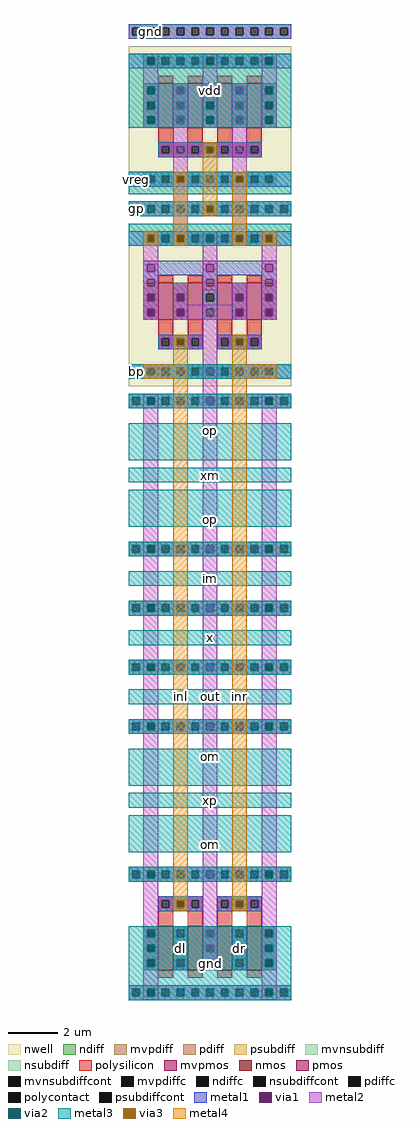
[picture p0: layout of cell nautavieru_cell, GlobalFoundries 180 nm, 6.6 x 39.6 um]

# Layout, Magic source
magic
tech gf180mcuC
<< nwell >>
rect -720 522 -588 642
rect -720 366 -588 498
<< nmos >>
rect -696 -108 -684 -72
rect -672 -108 -660 -72
rect -648 -108 -636 -72
rect -624 -108 -612 -72
<< pmos >>
rect -696 420 -684 450
rect -672 420 -660 450
rect -648 420 -636 450
rect -624 420 -612 450
<< mvpmos >>
rect -696 576 -684 612
rect -672 576 -660 612
rect -648 576 -636 612
rect -624 576 -612 612
<< ndiff >>
rect -708 -75 -696 -72
rect -708 -81 -705 -75
rect -699 -81 -696 -75
rect -708 -87 -696 -81
rect -708 -93 -705 -87
rect -699 -93 -696 -87
rect -708 -99 -696 -93
rect -708 -105 -705 -99
rect -699 -105 -696 -99
rect -708 -108 -696 -105
rect -684 -75 -672 -72
rect -684 -81 -681 -75
rect -675 -81 -672 -75
rect -684 -87 -672 -81
rect -684 -93 -681 -87
rect -675 -93 -672 -87
rect -684 -99 -672 -93
rect -684 -105 -681 -99
rect -675 -105 -672 -99
rect -684 -108 -672 -105
rect -660 -75 -648 -72
rect -660 -81 -657 -75
rect -651 -81 -648 -75
rect -660 -87 -648 -81
rect -660 -93 -657 -87
rect -651 -93 -648 -87
rect -660 -99 -648 -93
rect -660 -105 -657 -99
rect -651 -105 -648 -99
rect -660 -108 -648 -105
rect -636 -75 -624 -72
rect -636 -81 -633 -75
rect -627 -81 -624 -75
rect -636 -87 -624 -81
rect -636 -93 -633 -87
rect -627 -93 -624 -87
rect -636 -99 -624 -93
rect -636 -105 -633 -99
rect -627 -105 -624 -99
rect -636 -108 -624 -105
rect -612 -75 -600 -72
rect -612 -81 -609 -75
rect -603 -81 -600 -75
rect -612 -87 -600 -81
rect -612 -93 -609 -87
rect -603 -93 -600 -87
rect -612 -99 -600 -93
rect -612 -105 -609 -99
rect -603 -105 -600 -99
rect -612 -108 -600 -105
<< pdiff >>
rect -708 441 -696 450
rect -708 435 -705 441
rect -699 435 -696 441
rect -708 429 -696 435
rect -708 423 -705 429
rect -699 423 -696 429
rect -708 420 -696 423
rect -684 441 -672 450
rect -684 435 -681 441
rect -675 435 -672 441
rect -684 429 -672 435
rect -684 423 -681 429
rect -675 423 -672 429
rect -684 420 -672 423
rect -660 441 -648 450
rect -660 435 -657 441
rect -651 435 -648 441
rect -660 429 -648 435
rect -660 423 -657 429
rect -651 423 -648 429
rect -660 420 -648 423
rect -636 441 -624 450
rect -636 435 -633 441
rect -627 435 -624 441
rect -636 429 -624 435
rect -636 423 -633 429
rect -627 423 -624 429
rect -636 420 -624 423
rect -612 441 -600 450
rect -612 435 -609 441
rect -603 435 -600 441
rect -612 429 -600 435
rect -612 423 -609 429
rect -603 423 -600 429
rect -612 420 -600 423
<< mvpdiff >>
rect -708 609 -696 612
rect -708 603 -705 609
rect -699 603 -696 609
rect -708 597 -696 603
rect -708 591 -705 597
rect -699 591 -696 597
rect -708 585 -696 591
rect -708 579 -705 585
rect -699 579 -696 585
rect -708 576 -696 579
rect -684 609 -672 612
rect -684 603 -681 609
rect -675 603 -672 609
rect -684 597 -672 603
rect -684 591 -681 597
rect -675 591 -672 597
rect -684 585 -672 591
rect -684 579 -681 585
rect -675 579 -672 585
rect -684 576 -672 579
rect -660 609 -648 612
rect -660 603 -657 609
rect -651 603 -648 609
rect -660 597 -648 603
rect -660 591 -657 597
rect -651 591 -648 597
rect -660 585 -648 591
rect -660 579 -657 585
rect -651 579 -648 585
rect -660 576 -648 579
rect -636 609 -624 612
rect -636 603 -633 609
rect -627 603 -624 609
rect -636 597 -624 603
rect -636 591 -633 597
rect -627 591 -624 597
rect -636 585 -624 591
rect -636 579 -633 585
rect -627 579 -624 585
rect -636 576 -624 579
rect -612 609 -600 612
rect -612 603 -609 609
rect -603 603 -600 609
rect -612 597 -600 603
rect -612 591 -609 597
rect -603 591 -600 597
rect -612 585 -600 591
rect -612 579 -609 585
rect -603 579 -600 585
rect -612 576 -600 579
<< ndiffc >>
rect -705 -81 -699 -75
rect -705 -93 -699 -87
rect -705 -105 -699 -99
rect -681 -81 -675 -75
rect -681 -93 -675 -87
rect -681 -105 -675 -99
rect -657 -81 -651 -75
rect -657 -93 -651 -87
rect -657 -105 -651 -99
rect -633 -81 -627 -75
rect -633 -93 -627 -87
rect -633 -105 -627 -99
rect -609 -81 -603 -75
rect -609 -93 -603 -87
rect -609 -105 -603 -99
<< pdiffc >>
rect -705 435 -699 441
rect -705 423 -699 429
rect -681 435 -675 441
rect -681 423 -675 429
rect -657 435 -651 441
rect -657 423 -651 429
rect -633 435 -627 441
rect -633 423 -627 429
rect -609 435 -603 441
rect -609 423 -603 429
<< mvpdiffc >>
rect -705 603 -699 609
rect -705 591 -699 597
rect -705 579 -699 585
rect -681 603 -675 609
rect -681 591 -675 597
rect -681 579 -675 585
rect -657 603 -651 609
rect -657 591 -651 597
rect -657 579 -651 585
rect -633 603 -627 609
rect -633 591 -627 597
rect -633 579 -627 585
rect -609 603 -603 609
rect -609 591 -603 597
rect -609 579 -603 585
<< psubdiff >>
rect -720 657 -588 660
rect -720 651 -717 657
rect -711 651 -705 657
rect -699 651 -693 657
rect -687 651 -681 657
rect -675 651 -669 657
rect -663 651 -657 657
rect -651 651 -645 657
rect -639 651 -633 657
rect -627 651 -621 657
rect -615 651 -609 657
rect -603 651 -597 657
rect -591 651 -588 657
rect -720 648 -588 651
rect -720 513 -588 516
rect -720 507 -717 513
rect -711 507 -705 513
rect -699 507 -693 513
rect -687 507 -681 513
rect -675 507 -669 513
rect -663 507 -657 513
rect -651 507 -645 513
rect -639 507 -633 513
rect -627 507 -621 513
rect -615 507 -609 513
rect -603 507 -597 513
rect -591 507 -588 513
rect -720 504 -588 507
rect -720 357 -588 360
rect -720 351 -717 357
rect -711 351 -705 357
rect -699 351 -693 357
rect -687 351 -681 357
rect -675 351 -669 357
rect -663 351 -657 357
rect -651 351 -645 357
rect -639 351 -633 357
rect -627 351 -621 357
rect -615 351 -609 357
rect -603 351 -597 357
rect -591 351 -588 357
rect -720 348 -588 351
rect -720 237 -588 240
rect -720 231 -717 237
rect -711 231 -705 237
rect -699 231 -693 237
rect -687 231 -681 237
rect -675 231 -669 237
rect -663 231 -657 237
rect -651 231 -645 237
rect -639 231 -633 237
rect -627 231 -621 237
rect -615 231 -609 237
rect -603 231 -597 237
rect -591 231 -588 237
rect -720 228 -588 231
rect -720 189 -588 192
rect -720 183 -717 189
rect -711 183 -705 189
rect -699 183 -693 189
rect -687 183 -681 189
rect -675 183 -669 189
rect -663 183 -657 189
rect -651 183 -645 189
rect -639 183 -633 189
rect -627 183 -621 189
rect -615 183 -609 189
rect -603 183 -597 189
rect -591 183 -588 189
rect -720 180 -588 183
rect -720 141 -588 144
rect -720 135 -717 141
rect -711 135 -705 141
rect -699 135 -693 141
rect -687 135 -681 141
rect -675 135 -669 141
rect -663 135 -657 141
rect -651 135 -645 141
rect -639 135 -633 141
rect -627 135 -621 141
rect -615 135 -609 141
rect -603 135 -597 141
rect -591 135 -588 141
rect -720 132 -588 135
rect -720 93 -588 96
rect -720 87 -717 93
rect -711 87 -705 93
rect -699 87 -693 93
rect -687 87 -681 93
rect -675 87 -669 93
rect -663 87 -657 93
rect -651 87 -645 93
rect -639 87 -633 93
rect -627 87 -621 93
rect -615 87 -609 93
rect -603 87 -597 93
rect -591 87 -588 93
rect -720 84 -588 87
rect -720 -27 -588 -24
rect -720 -33 -717 -27
rect -711 -33 -705 -27
rect -699 -33 -693 -27
rect -687 -33 -681 -27
rect -675 -33 -669 -27
rect -663 -33 -657 -27
rect -651 -33 -645 -27
rect -639 -33 -633 -27
rect -627 -33 -621 -27
rect -615 -33 -609 -27
rect -603 -33 -597 -27
rect -591 -33 -588 -27
rect -720 -36 -588 -33
rect -720 -123 -588 -120
rect -720 -129 -717 -123
rect -711 -129 -705 -123
rect -699 -129 -693 -123
rect -687 -129 -681 -123
rect -675 -129 -669 -123
rect -663 -129 -657 -123
rect -651 -129 -645 -123
rect -639 -129 -633 -123
rect -627 -129 -621 -123
rect -615 -129 -609 -123
rect -603 -129 -597 -123
rect -591 -129 -588 -123
rect -720 -132 -588 -129
<< nsubdiff >>
rect -708 489 -600 492
rect -708 483 -705 489
rect -699 483 -693 489
rect -687 483 -681 489
rect -675 483 -669 489
rect -663 483 -657 489
rect -651 483 -645 489
rect -639 483 -633 489
rect -627 483 -621 489
rect -615 483 -609 489
rect -603 483 -600 489
rect -708 480 -600 483
rect -708 381 -600 384
rect -708 375 -705 381
rect -699 375 -693 381
rect -687 375 -681 381
rect -675 375 -669 381
rect -663 375 -657 381
rect -651 375 -645 381
rect -639 375 -633 381
rect -627 375 -621 381
rect -615 375 -609 381
rect -603 375 -600 381
rect -708 372 -600 375
<< mvnsubdiff >>
rect -708 633 -600 636
rect -708 627 -705 633
rect -699 627 -693 633
rect -687 627 -681 633
rect -675 627 -669 633
rect -663 627 -657 633
rect -651 627 -645 633
rect -639 627 -633 633
rect -627 627 -621 633
rect -615 627 -609 633
rect -603 627 -600 633
rect -708 624 -600 627
rect -708 537 -600 540
rect -708 531 -705 537
rect -699 531 -693 537
rect -687 531 -681 537
rect -675 531 -669 537
rect -663 531 -657 537
rect -651 531 -645 537
rect -639 531 -633 537
rect -627 531 -621 537
rect -615 531 -609 537
rect -603 531 -600 537
rect -708 528 -600 531
<< psubdiffcont >>
rect -717 651 -711 657
rect -705 651 -699 657
rect -693 651 -687 657
rect -681 651 -675 657
rect -669 651 -663 657
rect -657 651 -651 657
rect -645 651 -639 657
rect -633 651 -627 657
rect -621 651 -615 657
rect -609 651 -603 657
rect -597 651 -591 657
rect -717 507 -711 513
rect -705 507 -699 513
rect -693 507 -687 513
rect -681 507 -675 513
rect -669 507 -663 513
rect -657 507 -651 513
rect -645 507 -639 513
rect -633 507 -627 513
rect -621 507 -615 513
rect -609 507 -603 513
rect -597 507 -591 513
rect -717 351 -711 357
rect -705 351 -699 357
rect -693 351 -687 357
rect -681 351 -675 357
rect -669 351 -663 357
rect -657 351 -651 357
rect -645 351 -639 357
rect -633 351 -627 357
rect -621 351 -615 357
rect -609 351 -603 357
rect -597 351 -591 357
rect -717 231 -711 237
rect -705 231 -699 237
rect -693 231 -687 237
rect -681 231 -675 237
rect -669 231 -663 237
rect -657 231 -651 237
rect -645 231 -639 237
rect -633 231 -627 237
rect -621 231 -615 237
rect -609 231 -603 237
rect -597 231 -591 237
rect -717 183 -711 189
rect -705 183 -699 189
rect -693 183 -687 189
rect -681 183 -675 189
rect -669 183 -663 189
rect -657 183 -651 189
rect -645 183 -639 189
rect -633 183 -627 189
rect -621 183 -615 189
rect -609 183 -603 189
rect -597 183 -591 189
rect -717 135 -711 141
rect -705 135 -699 141
rect -693 135 -687 141
rect -681 135 -675 141
rect -669 135 -663 141
rect -657 135 -651 141
rect -645 135 -639 141
rect -633 135 -627 141
rect -621 135 -615 141
rect -609 135 -603 141
rect -597 135 -591 141
rect -717 87 -711 93
rect -705 87 -699 93
rect -693 87 -687 93
rect -681 87 -675 93
rect -669 87 -663 93
rect -657 87 -651 93
rect -645 87 -639 93
rect -633 87 -627 93
rect -621 87 -615 93
rect -609 87 -603 93
rect -597 87 -591 93
rect -717 -33 -711 -27
rect -705 -33 -699 -27
rect -693 -33 -687 -27
rect -681 -33 -675 -27
rect -669 -33 -663 -27
rect -657 -33 -651 -27
rect -645 -33 -639 -27
rect -633 -33 -627 -27
rect -621 -33 -615 -27
rect -609 -33 -603 -27
rect -597 -33 -591 -27
rect -717 -129 -711 -123
rect -705 -129 -699 -123
rect -693 -129 -687 -123
rect -681 -129 -675 -123
rect -669 -129 -663 -123
rect -657 -129 -651 -123
rect -645 -129 -639 -123
rect -633 -129 -627 -123
rect -621 -129 -615 -123
rect -609 -129 -603 -123
rect -597 -129 -591 -123
<< nsubdiffcont >>
rect -705 483 -699 489
rect -693 483 -687 489
rect -681 483 -675 489
rect -669 483 -663 489
rect -657 483 -651 489
rect -645 483 -639 489
rect -633 483 -627 489
rect -621 483 -615 489
rect -609 483 -603 489
rect -705 375 -699 381
rect -693 375 -687 381
rect -681 375 -675 381
rect -669 375 -663 381
rect -657 375 -651 381
rect -645 375 -639 381
rect -633 375 -627 381
rect -621 375 -615 381
rect -609 375 -603 381
<< mvnsubdiffcont >>
rect -705 627 -699 633
rect -693 627 -687 633
rect -681 627 -675 633
rect -669 627 -663 633
rect -657 627 -651 633
rect -645 627 -639 633
rect -633 627 -627 633
rect -621 627 -615 633
rect -609 627 -603 633
rect -705 531 -699 537
rect -693 531 -687 537
rect -681 531 -675 537
rect -669 531 -663 537
rect -657 531 -651 537
rect -645 531 -639 537
rect -633 531 -627 537
rect -621 531 -615 537
rect -609 531 -603 537
<< polysilicon >>
rect -696 612 -684 618
rect -672 612 -660 618
rect -648 612 -636 618
rect -624 612 -612 618
rect -696 564 -684 576
rect -672 564 -660 576
rect -648 564 -636 576
rect -624 564 -612 576
rect -696 561 -612 564
rect -696 555 -693 561
rect -687 555 -681 561
rect -675 555 -669 561
rect -663 555 -657 561
rect -651 555 -645 561
rect -639 555 -633 561
rect -627 555 -621 561
rect -615 555 -612 561
rect -696 552 -612 555
rect -696 450 -684 456
rect -672 450 -660 456
rect -648 450 -636 456
rect -624 450 -612 456
rect -696 408 -684 420
rect -672 408 -660 420
rect -696 405 -660 408
rect -696 399 -693 405
rect -687 399 -681 405
rect -675 399 -669 405
rect -663 399 -660 405
rect -696 396 -660 399
rect -648 408 -636 420
rect -624 408 -612 420
rect -648 405 -612 408
rect -648 399 -645 405
rect -639 399 -633 405
rect -627 399 -621 405
rect -615 399 -612 405
rect -648 396 -612 399
rect -696 -51 -660 -48
rect -696 -57 -693 -51
rect -687 -57 -681 -51
rect -675 -57 -669 -51
rect -663 -57 -660 -51
rect -696 -60 -660 -57
rect -696 -72 -684 -60
rect -672 -72 -660 -60
rect -648 -51 -612 -48
rect -648 -57 -645 -51
rect -639 -57 -633 -51
rect -627 -57 -621 -51
rect -615 -57 -612 -51
rect -648 -60 -612 -57
rect -648 -72 -636 -60
rect -624 -72 -612 -60
rect -696 -114 -684 -108
rect -672 -114 -660 -108
rect -648 -114 -636 -108
rect -624 -114 -612 -108
<< polycontact >>
rect -693 555 -687 561
rect -681 555 -675 561
rect -669 555 -663 561
rect -657 555 -651 561
rect -645 555 -639 561
rect -633 555 -627 561
rect -621 555 -615 561
rect -693 399 -687 405
rect -681 399 -675 405
rect -669 399 -663 405
rect -645 399 -639 405
rect -633 399 -627 405
rect -621 399 -615 405
rect -693 -57 -687 -51
rect -681 -57 -675 -51
rect -669 -57 -663 -51
rect -645 -57 -639 -51
rect -633 -57 -627 -51
rect -621 -57 -615 -51
<< metal1 >>
rect -720 657 -588 660
rect -720 651 -717 657
rect -711 651 -705 657
rect -699 651 -693 657
rect -687 651 -681 657
rect -675 651 -669 657
rect -663 651 -657 657
rect -651 651 -645 657
rect -639 651 -633 657
rect -627 651 -621 657
rect -615 651 -609 657
rect -603 651 -597 657
rect -591 651 -588 657
rect -720 648 -588 651
rect -720 633 -588 636
rect -720 627 -705 633
rect -699 627 -693 633
rect -687 627 -681 633
rect -675 627 -669 633
rect -663 627 -657 633
rect -651 627 -645 633
rect -639 627 -633 633
rect -627 627 -621 633
rect -615 627 -609 633
rect -603 627 -588 633
rect -720 624 -588 627
rect -708 609 -696 612
rect -708 603 -705 609
rect -699 603 -696 609
rect -708 597 -696 603
rect -708 591 -705 597
rect -699 591 -696 597
rect -708 585 -696 591
rect -708 579 -705 585
rect -699 579 -696 585
rect -708 576 -696 579
rect -684 609 -672 612
rect -684 603 -681 609
rect -675 603 -672 609
rect -684 597 -672 603
rect -684 591 -681 597
rect -675 591 -672 597
rect -684 585 -672 591
rect -684 579 -681 585
rect -675 579 -672 585
rect -684 576 -672 579
rect -660 609 -648 612
rect -660 603 -657 609
rect -651 603 -648 609
rect -660 597 -648 603
rect -660 591 -657 597
rect -651 591 -648 597
rect -660 585 -648 591
rect -660 579 -657 585
rect -651 579 -648 585
rect -660 576 -648 579
rect -636 609 -624 612
rect -636 603 -633 609
rect -627 603 -624 609
rect -636 597 -624 603
rect -636 591 -633 597
rect -627 591 -624 597
rect -636 585 -624 591
rect -636 579 -633 585
rect -627 579 -624 585
rect -636 576 -624 579
rect -612 609 -600 612
rect -612 603 -609 609
rect -603 603 -600 609
rect -612 597 -600 603
rect -612 591 -609 597
rect -603 591 -600 597
rect -612 585 -600 591
rect -612 579 -609 585
rect -603 579 -600 585
rect -612 576 -600 579
rect -696 561 -612 564
rect -696 555 -693 561
rect -687 555 -681 561
rect -675 555 -669 561
rect -663 555 -657 561
rect -651 555 -645 561
rect -639 555 -633 561
rect -627 555 -621 561
rect -615 555 -612 561
rect -696 552 -612 555
rect -720 537 -588 540
rect -720 531 -705 537
rect -699 531 -693 537
rect -687 531 -681 537
rect -675 531 -669 537
rect -663 531 -657 537
rect -651 531 -645 537
rect -639 531 -633 537
rect -627 531 -621 537
rect -615 531 -609 537
rect -603 531 -588 537
rect -720 528 -588 531
rect -720 513 -588 516
rect -720 507 -717 513
rect -711 507 -705 513
rect -699 507 -693 513
rect -687 507 -681 513
rect -675 507 -669 513
rect -663 507 -657 513
rect -651 507 -645 513
rect -639 507 -633 513
rect -627 507 -621 513
rect -615 507 -609 513
rect -603 507 -597 513
rect -591 507 -588 513
rect -720 504 -588 507
rect -720 489 -588 492
rect -720 483 -705 489
rect -699 483 -693 489
rect -687 483 -681 489
rect -675 483 -669 489
rect -663 483 -657 489
rect -651 483 -645 489
rect -639 483 -633 489
rect -627 483 -621 489
rect -615 483 -609 489
rect -603 483 -588 489
rect -720 480 -588 483
rect -708 465 -600 468
rect -708 459 -705 465
rect -699 459 -657 465
rect -651 459 -609 465
rect -603 459 -600 465
rect -708 456 -600 459
rect -708 453 -696 456
rect -708 447 -705 453
rect -699 447 -696 453
rect -660 453 -648 456
rect -708 441 -696 447
rect -708 435 -705 441
rect -699 435 -696 441
rect -708 429 -696 435
rect -708 423 -705 429
rect -699 423 -696 429
rect -708 420 -696 423
rect -684 441 -672 450
rect -684 435 -681 441
rect -675 435 -672 441
rect -684 429 -672 435
rect -684 423 -681 429
rect -675 423 -672 429
rect -684 420 -672 423
rect -660 447 -657 453
rect -651 447 -648 453
rect -612 453 -600 456
rect -660 441 -648 447
rect -660 435 -657 441
rect -651 435 -648 441
rect -660 429 -648 435
rect -660 423 -657 429
rect -651 423 -648 429
rect -660 420 -648 423
rect -636 441 -624 450
rect -636 435 -633 441
rect -627 435 -624 441
rect -636 429 -624 435
rect -636 423 -633 429
rect -627 423 -624 429
rect -636 420 -624 423
rect -612 447 -609 453
rect -603 447 -600 453
rect -612 441 -600 447
rect -612 435 -609 441
rect -603 435 -600 441
rect -612 429 -600 435
rect -612 423 -609 429
rect -603 423 -600 429
rect -612 420 -600 423
rect -696 405 -660 408
rect -696 399 -693 405
rect -687 399 -681 405
rect -675 399 -669 405
rect -663 399 -660 405
rect -696 396 -660 399
rect -648 405 -612 408
rect -648 399 -645 405
rect -639 399 -633 405
rect -627 399 -621 405
rect -615 399 -612 405
rect -648 396 -612 399
rect -720 381 -588 384
rect -720 375 -705 381
rect -699 375 -693 381
rect -687 375 -681 381
rect -675 375 -669 381
rect -663 375 -657 381
rect -651 375 -645 381
rect -639 375 -633 381
rect -627 375 -621 381
rect -615 375 -609 381
rect -603 375 -588 381
rect -720 372 -588 375
rect -720 357 -588 360
rect -720 351 -717 357
rect -711 351 -705 357
rect -699 351 -693 357
rect -687 351 -681 357
rect -675 351 -669 357
rect -663 351 -657 357
rect -651 351 -645 357
rect -639 351 -633 357
rect -627 351 -621 357
rect -615 351 -609 357
rect -603 351 -597 357
rect -591 351 -588 357
rect -720 348 -588 351
rect -720 237 -588 240
rect -720 231 -717 237
rect -711 231 -705 237
rect -699 231 -693 237
rect -687 231 -681 237
rect -675 231 -669 237
rect -663 231 -657 237
rect -651 231 -645 237
rect -639 231 -633 237
rect -627 231 -621 237
rect -615 231 -609 237
rect -603 231 -597 237
rect -591 231 -588 237
rect -720 228 -588 231
rect -720 189 -588 192
rect -720 183 -717 189
rect -711 183 -705 189
rect -699 183 -693 189
rect -687 183 -681 189
rect -675 183 -669 189
rect -663 183 -657 189
rect -651 183 -645 189
rect -639 183 -633 189
rect -627 183 -621 189
rect -615 183 -609 189
rect -603 183 -597 189
rect -591 183 -588 189
rect -720 180 -588 183
rect -720 141 -588 144
rect -720 135 -717 141
rect -711 135 -705 141
rect -699 135 -693 141
rect -687 135 -681 141
rect -675 135 -669 141
rect -663 135 -657 141
rect -651 135 -645 141
rect -639 135 -633 141
rect -627 135 -621 141
rect -615 135 -609 141
rect -603 135 -597 141
rect -591 135 -588 141
rect -720 132 -588 135
rect -720 93 -588 96
rect -720 87 -717 93
rect -711 87 -705 93
rect -699 87 -693 93
rect -687 87 -681 93
rect -675 87 -669 93
rect -663 87 -657 93
rect -651 87 -645 93
rect -639 87 -633 93
rect -627 87 -621 93
rect -615 87 -609 93
rect -603 87 -597 93
rect -591 87 -588 93
rect -720 84 -588 87
rect -720 -27 -588 -24
rect -720 -33 -717 -27
rect -711 -33 -705 -27
rect -699 -33 -693 -27
rect -687 -33 -681 -27
rect -675 -33 -669 -27
rect -663 -33 -657 -27
rect -651 -33 -645 -27
rect -639 -33 -633 -27
rect -627 -33 -621 -27
rect -615 -33 -609 -27
rect -603 -33 -597 -27
rect -591 -33 -588 -27
rect -720 -36 -588 -33
rect -696 -51 -660 -48
rect -696 -57 -693 -51
rect -687 -57 -681 -51
rect -675 -57 -669 -51
rect -663 -57 -660 -51
rect -696 -60 -660 -57
rect -648 -51 -612 -48
rect -648 -57 -645 -51
rect -639 -57 -633 -51
rect -627 -57 -621 -51
rect -615 -57 -612 -51
rect -648 -60 -612 -57
rect -708 -75 -696 -72
rect -708 -81 -705 -75
rect -699 -81 -696 -75
rect -708 -87 -696 -81
rect -708 -93 -705 -87
rect -699 -93 -696 -87
rect -708 -99 -696 -93
rect -708 -105 -705 -99
rect -699 -105 -696 -99
rect -708 -108 -696 -105
rect -684 -75 -672 -72
rect -684 -81 -681 -75
rect -675 -81 -672 -75
rect -684 -87 -672 -81
rect -684 -93 -681 -87
rect -675 -93 -672 -87
rect -684 -99 -672 -93
rect -684 -105 -681 -99
rect -675 -105 -672 -99
rect -684 -108 -672 -105
rect -660 -75 -648 -72
rect -660 -81 -657 -75
rect -651 -81 -648 -75
rect -660 -87 -648 -81
rect -660 -93 -657 -87
rect -651 -93 -648 -87
rect -660 -99 -648 -93
rect -660 -105 -657 -99
rect -651 -105 -648 -99
rect -660 -108 -648 -105
rect -636 -75 -624 -72
rect -636 -81 -633 -75
rect -627 -81 -624 -75
rect -636 -87 -624 -81
rect -636 -93 -633 -87
rect -627 -93 -624 -87
rect -636 -99 -624 -93
rect -636 -105 -633 -99
rect -627 -105 -624 -99
rect -636 -108 -624 -105
rect -612 -75 -600 -72
rect -612 -81 -609 -75
rect -603 -81 -600 -75
rect -612 -87 -600 -81
rect -612 -93 -609 -87
rect -603 -93 -600 -87
rect -612 -99 -600 -93
rect -612 -105 -609 -99
rect -603 -105 -600 -99
rect -612 -108 -600 -105
rect -720 -123 -588 -120
rect -720 -129 -717 -123
rect -711 -129 -705 -123
rect -699 -129 -693 -123
rect -687 -129 -681 -123
rect -675 -129 -669 -123
rect -663 -129 -657 -123
rect -651 -129 -645 -123
rect -639 -129 -633 -123
rect -627 -129 -621 -123
rect -615 -129 -609 -123
rect -603 -129 -597 -123
rect -591 -129 -588 -123
rect -720 -132 -588 -129
<< via1 >>
rect -705 627 -699 633
rect -657 627 -651 633
rect -609 627 -603 633
rect -705 603 -699 609
rect -705 591 -699 597
rect -705 579 -699 585
rect -681 603 -675 609
rect -681 591 -675 597
rect -681 579 -675 585
rect -657 603 -651 609
rect -657 591 -651 597
rect -657 579 -651 585
rect -633 603 -627 609
rect -633 591 -627 597
rect -633 579 -627 585
rect -609 603 -603 609
rect -609 591 -603 597
rect -609 579 -603 585
rect -657 555 -651 561
rect -705 459 -699 465
rect -657 459 -651 465
rect -609 459 -603 465
rect -705 447 -699 453
rect -705 435 -699 441
rect -705 423 -699 429
rect -681 435 -675 441
rect -681 423 -675 429
rect -657 447 -651 453
rect -633 435 -627 441
rect -633 423 -627 429
rect -609 447 -603 453
rect -609 435 -603 441
rect -609 423 -603 429
rect -681 399 -675 405
rect -633 399 -627 405
rect -705 375 -699 381
rect -609 375 -603 381
rect -705 351 -699 357
rect -609 351 -603 357
rect -705 231 -699 237
rect -609 231 -603 237
rect -705 183 -699 189
rect -609 183 -603 189
rect -705 135 -699 141
rect -609 135 -603 141
rect -705 87 -699 93
rect -609 87 -603 93
rect -705 -33 -699 -27
rect -609 -33 -603 -27
rect -681 -57 -675 -51
rect -633 -57 -627 -51
rect -705 -81 -699 -75
rect -705 -93 -699 -87
rect -705 -105 -699 -99
rect -657 -81 -651 -75
rect -657 -93 -651 -87
rect -657 -105 -651 -99
rect -609 -81 -603 -75
rect -609 -93 -603 -87
rect -609 -105 -603 -99
rect -705 -129 -699 -123
rect -609 -129 -603 -123
<< metal2 >>
rect -708 633 -696 636
rect -708 627 -705 633
rect -699 627 -696 633
rect -708 609 -696 627
rect -660 633 -648 636
rect -660 627 -657 633
rect -651 627 -648 633
rect -708 603 -705 609
rect -699 603 -696 609
rect -708 597 -696 603
rect -708 591 -705 597
rect -699 591 -696 597
rect -708 585 -696 591
rect -708 579 -705 585
rect -699 579 -696 585
rect -708 576 -696 579
rect -684 609 -672 612
rect -684 603 -681 609
rect -675 603 -672 609
rect -684 597 -672 603
rect -684 591 -681 597
rect -675 591 -672 597
rect -684 585 -672 591
rect -684 579 -681 585
rect -675 579 -672 585
rect -684 537 -672 579
rect -660 609 -648 627
rect -612 633 -600 636
rect -612 627 -609 633
rect -603 627 -600 633
rect -660 603 -657 609
rect -651 603 -648 609
rect -660 597 -648 603
rect -660 591 -657 597
rect -651 591 -648 597
rect -660 585 -648 591
rect -660 579 -657 585
rect -651 579 -648 585
rect -660 576 -648 579
rect -636 609 -624 612
rect -636 603 -633 609
rect -627 603 -624 609
rect -636 597 -624 603
rect -636 591 -633 597
rect -627 591 -624 597
rect -636 585 -624 591
rect -636 579 -633 585
rect -627 579 -624 585
rect -660 561 -648 564
rect -660 555 -657 561
rect -651 555 -648 561
rect -660 552 -648 555
rect -684 531 -681 537
rect -675 531 -672 537
rect -708 489 -696 492
rect -708 483 -705 489
rect -699 483 -696 489
rect -708 465 -696 483
rect -684 489 -672 531
rect -636 537 -624 579
rect -612 609 -600 627
rect -612 603 -609 609
rect -603 603 -600 609
rect -612 597 -600 603
rect -612 591 -609 597
rect -603 591 -600 597
rect -612 585 -600 591
rect -612 579 -609 585
rect -603 579 -600 585
rect -612 576 -600 579
rect -636 531 -633 537
rect -627 531 -624 537
rect -684 483 -681 489
rect -675 483 -672 489
rect -684 480 -672 483
rect -660 489 -648 492
rect -660 483 -657 489
rect -651 483 -648 489
rect -708 459 -705 465
rect -699 459 -696 465
rect -708 453 -696 459
rect -708 447 -705 453
rect -699 447 -696 453
rect -660 465 -648 483
rect -636 489 -624 531
rect -636 483 -633 489
rect -627 483 -624 489
rect -636 480 -624 483
rect -612 489 -600 492
rect -612 483 -609 489
rect -603 483 -600 489
rect -660 459 -657 465
rect -651 459 -648 465
rect -660 453 -648 459
rect -708 441 -696 447
rect -708 435 -705 441
rect -699 435 -696 441
rect -708 429 -696 435
rect -708 423 -705 429
rect -699 423 -696 429
rect -708 420 -696 423
rect -684 441 -672 450
rect -660 447 -657 453
rect -651 447 -648 453
rect -612 465 -600 483
rect -612 459 -609 465
rect -603 459 -600 465
rect -612 453 -600 459
rect -660 444 -648 447
rect -684 435 -681 441
rect -675 435 -672 441
rect -684 432 -672 435
rect -636 441 -624 450
rect -636 435 -633 441
rect -627 435 -624 441
rect -636 432 -624 435
rect -684 429 -624 432
rect -684 423 -681 429
rect -675 423 -633 429
rect -627 423 -624 429
rect -684 420 -624 423
rect -612 447 -609 453
rect -603 447 -600 453
rect -612 441 -600 447
rect -612 435 -609 441
rect -603 435 -600 441
rect -612 429 -600 435
rect -612 423 -609 429
rect -603 423 -600 429
rect -612 420 -600 423
rect -684 405 -672 408
rect -684 399 -681 405
rect -675 399 -672 405
rect -684 396 -672 399
rect -708 381 -696 384
rect -708 375 -705 381
rect -699 375 -696 381
rect -708 372 -696 375
rect -708 357 -696 360
rect -708 351 -705 357
rect -699 351 -696 357
rect -708 237 -696 351
rect -708 231 -705 237
rect -699 231 -696 237
rect -708 189 -696 231
rect -708 183 -705 189
rect -699 183 -696 189
rect -708 141 -696 183
rect -708 135 -705 141
rect -699 135 -696 141
rect -708 93 -696 135
rect -708 87 -705 93
rect -699 87 -696 93
rect -708 -27 -696 87
rect -708 -33 -705 -27
rect -699 -33 -696 -27
rect -708 -75 -696 -33
rect -684 -51 -672 -48
rect -684 -57 -681 -51
rect -675 -57 -672 -51
rect -684 -60 -672 -57
rect -708 -81 -705 -75
rect -699 -81 -696 -75
rect -708 -87 -696 -81
rect -708 -93 -705 -87
rect -699 -93 -696 -87
rect -708 -99 -696 -93
rect -708 -105 -705 -99
rect -699 -105 -696 -99
rect -708 -123 -696 -105
rect -660 -75 -648 420
rect -636 405 -624 408
rect -636 399 -633 405
rect -627 399 -624 405
rect -636 396 -624 399
rect -612 381 -600 384
rect -612 375 -609 381
rect -603 375 -600 381
rect -612 372 -600 375
rect -612 357 -600 360
rect -612 351 -609 357
rect -603 351 -600 357
rect -612 237 -600 351
rect -612 231 -609 237
rect -603 231 -600 237
rect -612 189 -600 231
rect -612 183 -609 189
rect -603 183 -600 189
rect -612 141 -600 183
rect -612 135 -609 141
rect -603 135 -600 141
rect -612 93 -600 135
rect -612 87 -609 93
rect -603 87 -600 93
rect -612 -27 -600 87
rect -612 -33 -609 -27
rect -603 -33 -600 -27
rect -636 -51 -624 -48
rect -636 -57 -633 -51
rect -627 -57 -624 -51
rect -636 -60 -624 -57
rect -660 -81 -657 -75
rect -651 -81 -648 -75
rect -660 -87 -648 -81
rect -660 -93 -657 -87
rect -651 -93 -648 -87
rect -660 -99 -648 -93
rect -660 -105 -657 -99
rect -651 -105 -648 -99
rect -660 -108 -648 -105
rect -612 -75 -600 -33
rect -612 -81 -609 -75
rect -603 -81 -600 -75
rect -612 -87 -600 -81
rect -612 -93 -609 -87
rect -603 -93 -600 -87
rect -612 -99 -600 -93
rect -612 -105 -609 -99
rect -603 -105 -600 -99
rect -708 -129 -705 -123
rect -699 -129 -696 -123
rect -708 -132 -696 -129
rect -612 -123 -600 -105
rect -612 -129 -609 -123
rect -603 -129 -600 -123
rect -612 -132 -600 -129
<< via2 >>
rect -705 627 -699 633
rect -657 627 -651 633
rect -705 603 -699 609
rect -705 591 -699 597
rect -705 579 -699 585
rect -609 627 -603 633
rect -657 603 -651 609
rect -657 591 -651 597
rect -657 579 -651 585
rect -657 555 -651 561
rect -681 531 -675 537
rect -705 483 -699 489
rect -609 603 -603 609
rect -609 591 -603 597
rect -609 579 -603 585
rect -633 531 -627 537
rect -681 483 -675 489
rect -657 483 -651 489
rect -633 483 -627 489
rect -609 483 -603 489
rect -681 399 -675 405
rect -705 375 -699 381
rect -705 351 -699 357
rect -705 231 -699 237
rect -705 183 -699 189
rect -705 135 -699 141
rect -705 87 -699 93
rect -705 -33 -699 -27
rect -681 -57 -675 -51
rect -705 -81 -699 -75
rect -705 -93 -699 -87
rect -705 -105 -699 -99
rect -633 399 -627 405
rect -609 375 -603 381
rect -609 351 -603 357
rect -609 231 -603 237
rect -609 183 -603 189
rect -609 135 -603 141
rect -609 87 -603 93
rect -609 -33 -603 -27
rect -633 -57 -627 -51
rect -609 -81 -603 -75
rect -609 -93 -603 -87
rect -609 -105 -603 -99
rect -705 -129 -699 -123
rect -609 -129 -603 -123
<< metal3 >>
rect -720 633 -588 636
rect -720 627 -705 633
rect -699 627 -657 633
rect -651 627 -609 633
rect -603 627 -588 633
rect -720 609 -588 627
rect -720 603 -705 609
rect -699 603 -657 609
rect -651 603 -609 609
rect -603 603 -588 609
rect -720 597 -588 603
rect -720 591 -705 597
rect -699 591 -657 597
rect -651 591 -609 597
rect -603 591 -588 597
rect -720 585 -588 591
rect -720 579 -705 585
rect -699 579 -657 585
rect -651 579 -609 585
rect -603 579 -588 585
rect -720 576 -588 579
rect -660 561 -648 564
rect -660 555 -657 561
rect -651 555 -648 561
rect -660 552 -648 555
rect -720 537 -588 540
rect -720 531 -681 537
rect -675 531 -633 537
rect -627 531 -588 537
rect -720 522 -588 531
rect -720 513 -588 516
rect -720 507 -657 513
rect -651 507 -588 513
rect -720 504 -588 507
rect -720 489 -588 498
rect -720 483 -705 489
rect -699 483 -681 489
rect -675 483 -657 489
rect -651 483 -633 489
rect -627 483 -609 489
rect -603 483 -588 489
rect -720 480 -588 483
rect -684 405 -672 408
rect -684 399 -681 405
rect -675 399 -672 405
rect -684 396 -672 399
rect -636 405 -624 408
rect -636 399 -633 405
rect -627 399 -624 405
rect -636 396 -624 399
rect -720 381 -588 384
rect -720 375 -705 381
rect -699 375 -609 381
rect -603 375 -588 381
rect -720 372 -588 375
rect -720 357 -588 360
rect -720 351 -705 357
rect -699 351 -609 357
rect -603 351 -588 357
rect -720 348 -588 351
rect -720 306 -588 336
rect -720 288 -588 300
rect -720 252 -588 282
rect -720 237 -588 240
rect -720 231 -705 237
rect -699 231 -609 237
rect -603 231 -588 237
rect -720 228 -588 231
rect -720 204 -588 216
rect -720 189 -588 192
rect -720 183 -705 189
rect -699 183 -609 189
rect -603 183 -588 189
rect -720 180 -588 183
rect -720 156 -588 168
rect -720 141 -588 144
rect -720 135 -705 141
rect -699 135 -609 141
rect -603 135 -588 141
rect -720 132 -588 135
rect -720 108 -588 120
rect -720 93 -588 96
rect -720 87 -705 93
rect -699 87 -609 93
rect -603 87 -588 93
rect -720 84 -588 87
rect -720 42 -588 72
rect -720 24 -588 36
rect -720 -12 -588 18
rect -720 -27 -588 -24
rect -720 -33 -705 -27
rect -699 -33 -609 -27
rect -603 -33 -588 -27
rect -720 -36 -588 -33
rect -684 -51 -672 -48
rect -684 -57 -681 -51
rect -675 -57 -672 -51
rect -684 -60 -672 -57
rect -636 -51 -624 -48
rect -636 -57 -633 -51
rect -627 -57 -624 -51
rect -636 -60 -624 -57
rect -720 -75 -588 -72
rect -720 -81 -705 -75
rect -699 -81 -609 -75
rect -603 -81 -588 -75
rect -720 -87 -588 -81
rect -720 -93 -705 -87
rect -699 -93 -609 -87
rect -603 -93 -588 -87
rect -720 -99 -588 -93
rect -720 -105 -705 -99
rect -699 -105 -609 -99
rect -603 -105 -588 -99
rect -720 -123 -588 -105
rect -720 -129 -705 -123
rect -699 -129 -609 -123
rect -603 -129 -588 -123
rect -720 -132 -588 -129
<< via3 >>
rect -657 555 -651 561
rect -681 531 -675 537
rect -633 531 -627 537
rect -657 507 -651 513
rect -705 483 -699 489
rect -681 483 -675 489
rect -633 483 -627 489
rect -609 483 -603 489
rect -681 399 -675 405
rect -633 399 -627 405
rect -681 -57 -675 -51
rect -633 -57 -627 -51
<< metal4 >>
rect -660 561 -648 564
rect -660 555 -657 561
rect -651 555 -648 561
rect -684 537 -672 540
rect -684 531 -681 537
rect -675 531 -672 537
rect -708 489 -696 492
rect -708 483 -705 489
rect -699 483 -696 489
rect -708 480 -696 483
rect -684 489 -672 531
rect -660 513 -648 555
rect -660 507 -657 513
rect -651 507 -648 513
rect -660 504 -648 507
rect -636 537 -624 540
rect -636 531 -633 537
rect -627 531 -624 537
rect -684 483 -681 489
rect -675 483 -672 489
rect -684 480 -672 483
rect -636 489 -624 531
rect -636 483 -633 489
rect -627 483 -624 489
rect -636 480 -624 483
rect -612 489 -600 492
rect -612 483 -609 489
rect -603 483 -600 489
rect -612 480 -600 483
rect -684 405 -672 408
rect -684 399 -681 405
rect -675 399 -672 405
rect -684 384 -672 399
rect -708 372 -672 384
rect -684 -51 -672 372
rect -684 -57 -681 -51
rect -675 -57 -672 -51
rect -684 -60 -672 -57
rect -636 405 -624 408
rect -636 399 -633 405
rect -627 399 -624 405
rect -636 384 -624 399
rect -636 372 -600 384
rect -636 -51 -624 372
rect -636 -57 -633 -51
rect -627 -57 -624 -51
rect -636 -60 -624 -57
<< labels >>
rlabel metal4 -684 -12 -672 240 0 inl
port 1 nsew
rlabel metal4 -636 -12 -624 240 0 inr
port 2 nsew
rlabel metal2 -660 -12 -648 240 0 out
port 3 nsew
rlabel metal3 -720 -132 -588 -72 0 gnd
port 14 nsew
rlabel metal1 -684 -108 -672 -72 0 dl
rlabel metal1 -636 -108 -624 -72 0 dr
rlabel metal3 -720 -12 -588 0 0 om
port 15 nsew
rlabel metal3 -720 24 -588 36 0 xp
port 13 nsew
rlabel metal3 -720 108 -588 120 0 ip
port 11 nsew
rlabel metal3 -720 60 -588 72 0 om
port 15 nsew
rlabel metal3 -720 204 -588 216 0 im
port 10 nsew
rlabel metal3 -720 288 -588 300 0 xm
port 9 nsew
rlabel metal3 -720 576 -588 636 0 vdd
port 4 nsew
rlabel metal3 -720 504 -708 516 0 gp
port 5 nsew
rlabel metal3 -720 372 -708 384 0 bp
port 6 nsew
rlabel metal3 -720 528 -708 540 0 vreg
port 7 nsew
rlabel metal3 -720 324 -588 336 0 op
port 8 nsew
rlabel metal1 -708 504 -696 516 0 gnd
rlabel metal1 -708 648 -696 660 0 gnd
rlabel metal3 -720 252 -588 264 0 op
port 8 nsew
rlabel metal3 -720 156 -588 168 0 x
port 16 nsew
<< end >>
